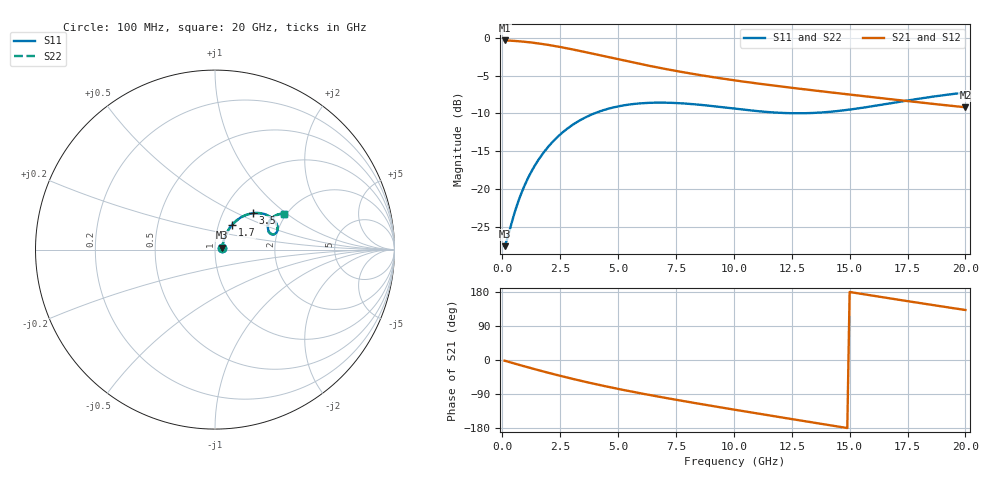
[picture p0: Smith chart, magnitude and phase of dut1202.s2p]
! Touchstone file exported from HFSS 2024.1.0
!  File:  C:/UserFiles/LocalFiles/RDL_TSV_Batchsim/temp_RDL_TSV_1202_1780257168.aedt
!  Generated:  04:06:43 AM Jun  1, 2026
!  Design:  RDL_TSV
!  Project:  temp_RDL_TSV_1202_1780257168
!  Setup:  Setup1
!  Solution:  Sweep
! Variables:
!  dtsv = 6.84um
!  hbump = 3um
!  htsv = 52.98um
!  ldown = 270.29um
!  lrdl = 688.91um
!  p = 40
!  p1 = 40.22um
!  rhole = 10um
!  subl = 3566.51um
!  t = 450um
!  tdown = 4.17um
!  trdl = 2.17um
!  viad = 10um
!  wdown = 23.89um
!  wrdl = 11.65um
!  xbump = 18um
# GHz S MA R 50.000000
! Terminal data exported
! Port[1] = TM1_1_T1
! Port[2] = TM1_4_T1
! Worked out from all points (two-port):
!   200 points, 100 MHz to 20 GHz, reference 50 ohm
!   highest |S21| = -0.36 dB at 100 MHz (marker M1); lowest = -9.2 dB at 20 GHz (marker M2)
!   |S21| within 3 dB of the highest: start of sweep to 5.783 GHz
!   lowest |S11| = -27.6 dB at 100 MHz (marker M3), VSWR 1.09, Z = 54.2 + j1.08 ohm
!   |S11| at or under -10 dB: start of sweep to 3.988 GHz
!   |S22| runs from -27.6 to -7.3 dB; largest |S21 - S12| = 1.1e-13
!   S11 on the Smith chart (normalised r, x): 100 MHz: 1.08, +0.02; 1.7 GHz: 1.16, +0.33; 3.5 GHz: 1.38, +0.61; 20 GHz: 1.95, +0.95
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0.1  0.04175 13.8  0.9595 -1.8  0.9595 -1.8  0.04175 13.8
! Gamma 0 0 0 0
! Port Impedance 50 0 50 0
0.2  0.04603 25.4  0.9585 -3.6  0.9585 -3.6  0.04603 25.4
0.6  0.07508 48.0  0.951 -10.6  0.951 -10.6  0.0751 48.0
0.9  0.09999 53.5  0.9426 -15.8  0.9426 -15.8  0.1 53.4
1.3  0.1337 55.8  0.9282 -22.5  0.9282 -22.5  0.1337 55.7
1.7  0.167 55.4  0.9106 -29.1  0.9106 -29.1  0.167 55.3
2.1  0.199 53.7  0.8905 -35.5  0.8905 -35.5  0.1989 53.6
2.6  0.2361 50.6  0.8627 -43.2  0.8627 -43.2  0.2359 50.5
3  0.2629 47.8  0.8391 -49.2  0.8391 -49.2  0.2626 47.6
3.5  0.2923 43.9  0.8089 -56.4  0.8089 -56.4  0.2918 43.8
4.2  0.3252 38.6  0.7667 -66.0  0.7667 -66.0  0.3245 38.4
4.9  0.3486 33.5  0.7262 -75.0  0.7262 -75.0  0.3477 33.3
5.8  0.3661 27.6  0.6784 -85.9  0.6784 -85.9  0.3649 27.4
6.8  0.3721 22.2  0.6317 -97.3  0.6317 -97.3  0.3706 22.0
8.4  0.3616 16.5  0.5707 -114.4  0.5707 -114.4  0.3597 16.4
10.1  0.3386 14.6  0.5206 -131.9  0.5206 -131.9  0.3363 14.5
11.7  0.3205 16.8  0.4829 -147.9  0.4829 -147.9  0.318 16.8
13.4  0.3178 21.8  0.4491 -164.8  0.4491 -164.8  0.3153 21.9
15  0.3346 26.4  0.4207 179.5  0.4207 179.5  0.3325 26.6
16.7  0.367 29.0  0.3931 163.0  0.3931 163.0  0.3653 29.2
18.4  0.4035 29.0  0.3679 146.8  0.3679 146.8  0.4022 29.2
20  0.4337 27.3  0.3466 132.0  0.3466 132.0  0.4325 27.5
